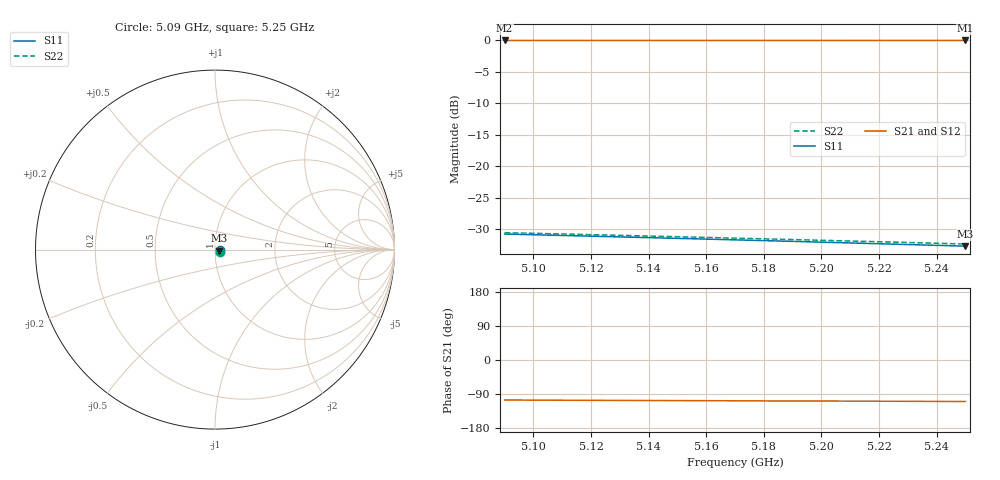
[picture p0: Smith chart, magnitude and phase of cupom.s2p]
! Touchstone file exported from HFSS 2024.2.0
!  File:  D:/dev/EMBRAER/P1H/R05_Correcao/cupons/Bobina_esmalte20/Bobina_esmalte20.aedt
!  Generated:  11:42:37 AM Nov  7, 2026
!  Design:  Bobina_esmalte20
!  Project:  Bobina_esmalte20
!  Setup:  Cupom
!  Solution:  Banda
# GHz S RI R 50.000000
! Terminal data exported
! Port[1] = Entrada
! Port[2] = Saida
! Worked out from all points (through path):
!   17 points, 5.09 GHz to 5.25 GHz, reference 50 ohm
!   highest |S21| = -0.02 dB at 5.25 GHz (marker M1); lowest = 0.0 dB at 5.09 GHz (marker M2)
!   group delay of S21, straight-line fit = 66.3 ps
!   lowest |S11| = -32.7 dB at 5.25 GHz (marker M3), VSWR 1.05, Z = 52.3 - j0.671 ohm
!   |S11| at or under -10 dB: start of sweep to end of sweep
!   |S22| runs from -32.4 to -30.6 dB; largest |S21 - S12| = 1.4e-15
5.09  0.0285 -0.00446  -0.2702 -0.9603  -0.2702 -0.9603  0.0274 -0.0114
! Gamma 0 0 0 0
! Port Impedance 50 0 50 0
5.1  0.0282 -0.0046  -0.2742 -0.9591  -0.2742 -0.9591  0.027 -0.0113
5.11  0.0278 -0.00474  -0.2782 -0.958  -0.2782 -0.958  0.0267 -0.0112
5.12  0.0274 -0.00488  -0.2822 -0.9568  -0.2822 -0.9568  0.0264 -0.0111
5.13  0.027 -0.00501  -0.2862 -0.9556  -0.2862 -0.9556  0.026 -0.0109
5.14  0.0266 -0.00514  -0.2902 -0.9544  -0.2902 -0.9544  0.0257 -0.0108
5.15  0.0262 -0.00527  -0.2942 -0.9532  -0.2942 -0.9532  0.0254 -0.0107
5.16  0.0258 -0.0054  -0.2981 -0.952  -0.2981 -0.952  0.025 -0.0106
5.17  0.0254 -0.00552  -0.3021 -0.9508  -0.3021 -0.9508  0.0247 -0.0105
5.18  0.025 -0.00564  -0.3061 -0.9495  -0.3061 -0.9495  0.0244 -0.0103
5.19  0.0246 -0.00576  -0.31 -0.9482  -0.31 -0.9482  0.024 -0.0102
5.2  0.0242 -0.00587  -0.314 -0.9469  -0.314 -0.9469  0.0237 -0.0101
5.21  0.0238 -0.00599  -0.3179 -0.9456  -0.3179 -0.9456  0.0234 -0.00996
5.22  0.0234 -0.0061  -0.3218 -0.9443  -0.3218 -0.9443  0.0231 -0.00982
5.23  0.023 -0.0062  -0.3258 -0.9429  -0.3258 -0.9429  0.0228 -0.00968
5.24  0.0226 -0.00631  -0.3297 -0.9415  -0.3297 -0.9415  0.0225 -0.00954
5.25  0.0222 -0.00641  -0.3336 -0.9402  -0.3336 -0.9402  0.0222 -0.0094
